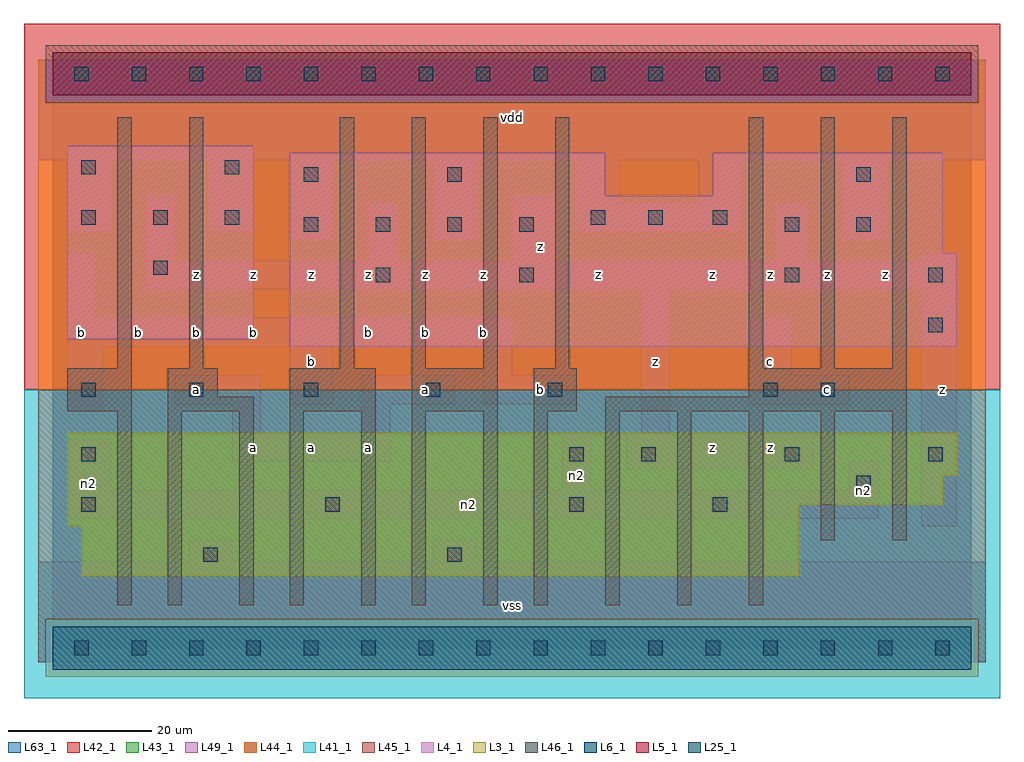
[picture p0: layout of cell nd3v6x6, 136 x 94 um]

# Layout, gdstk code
import gdstk
lib = gdstk.Library(unit=1e-6, precision=1e-09)
def R(c, l, rs):  # rectangles x0, y0, x1, y1
    for r in rs: c.add(gdstk.rectangle(r[:2], r[2:], *l))
def A(c, l, x, y, w, h, nx, ny, dx, dy):  # array of equal rectangles
    R(c, l, [(x+i*dx, y+j*dy, x+i*dx+w, y+j*dy+h) for i in range(nx) for j in range(ny)])
L3_1 = (3, 1)
L4_1 = (4, 1)
L5_1 = (5, 1)
L6_1 = (6, 1)
L25_1 = (25, 1)
L41_1 = (41, 1)
L42_1 = (42, 1)
L43_1 = (43, 1)
L44_1 = (44, 1)
L45_1 = (45, 1)
L46_1 = (46, 1)
L49_1 = (49, 1)
L63_1 = (63, 1)

nd3v6x6 = lib.new_cell('nd3v6x6')
R(nd3v6x6, L3_1, [(4,10,104,17), (2,17,104,20), (2,20,124,24), (2,24,126,30)])
R(nd3v6x6, L4_1, [(33,42,126,55), (2,43,28,70), (33,55,124,63), (33,63,77,69), (92,63,124,69)])
R(nd3v6x6, L5_1, [(0,77,128,83)])
R(nd3v6x6, L6_1, [(0,-3,128,3), (0,-3,128,3)])
A(nd3v6x6, L25_1, 3, -1, 2, 2, 16, 2, 8, 80)
A(nd3v6x6, L25_1, 4, 19, 2, 2, 3, 1, 34, 0)
A(nd3v6x6, L25_1, 82, 26, 2, 2, 3, 1, 20, 0)
A(nd3v6x6, L25_1, 35, 35, 2, 2, 3, 1, 17, 0)
A(nd3v6x6, L25_1, 35, 58, 2, 2, 4, 1, 10, 0)
A(nd3v6x6, L25_1, 4, 59, 2, 2, 3, 1, 10, 0)
R(nd3v6x6, L25_1, [(21,12,23,14), (55,12,57,14), (92,19,94,21), (112,22,114,24), (4,26,6,28), (72,26,74,28), (4,35,6,37), (19,35,21,37), (99,35,101,37), (107,35,109,37), (122,44,124,46), (45,51,47,53), (65,51,67,53), (102,51,104,53), (122,51,124,53), (14,52,16,54), (102,58,104,60), (112,58,114,60), (75,59,77,61), (83,59,85,61), (92,59,94,61), (35,65,37,67), (55,65,57,67), (112,65,114,67), (4,66,6,68), (24,66,26,68)])
R(nd3v6x6, L41_1, [(-4,-7,132,36)])
R(nd3v6x6, L42_1, [(-4,36,132,87)])
R(nd3v6x6, L43_1, [(0,-3,128,3), (4,10,104,17), (2,17,104,20), (2,20,124,24), (2,24,126,30), (33,42,126,55), (2,43,28,70), (33,55,124,63), (33,63,77,69), (92,63,124,69), (0,77,128,83)])
R(nd3v6x6, L44_1, [(-1,-4,129,4), (-2,36,130,76), (-2,76,-1,82), (129,76,130,82)])
R(nd3v6x6, L45_1, [(-2,-2,-1,4), (129,-2,130,4), (-2,4,130,36), (-1,76,129,84)])
A(nd3v6x6, L46_1, 67, 6, 2, 27, 4, 1, 10, 0)
A(nd3v6x6, L46_1, 40, 39, 2, 35, 4, 1, 10, 0)
A(nd3v6x6, L46_1, 97, 39, 2, 35, 3, 1, 10, 0)
R(nd3v6x6, L46_1, [(9,6,11,33), (16,6,18,33), (26,6,28,33), (33,6,35,33), (43,6,45,33), (50,6,52,33), (60,6,62,33), (107,15,109,33), (117,15,119,33), (2,33,11,39), (16,33,28,35), (33,33,45,39), (50,33,62,39), (67,33,73,39), (77,33,119,35), (16,35,23,39), (97,35,119,39), (9,39,11,74), (19,39,21,74)])
R(nd3v6x6, L49_1, [(-2,-2,130,12), (19,12,25,15), (53,12,59,15), (121,17,126,50), (2,18,115,22), (2,22,8,29), (71,22,75,30), (111,22,115,26), (80,25,106,30), (25,26,47,30), (25,30,29,34), (43,30,47,34), (82,30,86,50), (2,33,7,42), (17,34,29,38), (33,34,39,42), (43,34,56,38), (60,34,73,38), (97,34,111,38), (60,38,64,42), (97,38,103,46), (2,42,64,46), (2,46,6,55), (13,50,126,54), (13,54,17,63), (44,54,48,62), (64,54,70,63), (101,54,105,62), (121,54,126,55), (33,57,39,68), (53,57,59,68), (110,57,116,68), (2,58,8,68), (22,58,28,68), (73,58,96,62), (73,62,79,68), (90,62,96,68), (-2,68,130,82)])
R(nd3v6x6, L63_1, [(0,0,128,80)])
nd3v6x6.add(gdstk.Label('n2', (5,23), layer=49, texttype=1))
nd3v6x6.add(gdstk.Label('b', (12,44), layer=49, texttype=1))
nd3v6x6.add(gdstk.Label('b', (4,44), layer=49, texttype=1))
nd3v6x6.add(gdstk.Label('a', (28,28), layer=49, texttype=1))
nd3v6x6.add(gdstk.Label('a', (36,28), layer=49, texttype=1))
nd3v6x6.add(gdstk.Label('a', (20,36), layer=49, texttype=1))
nd3v6x6.add(gdstk.Label('b', (28,44), layer=49, texttype=1))
nd3v6x6.add(gdstk.Label('b', (36,40), layer=49, texttype=1))
nd3v6x6.add(gdstk.Label('b', (20,44), layer=49, texttype=1))
nd3v6x6.add(gdstk.Label('z', (20,52), layer=49, texttype=1))
nd3v6x6.add(gdstk.Label('z', (28,52), layer=49, texttype=1))
nd3v6x6.add(gdstk.Label('z', (36,52), layer=49, texttype=1))
nd3v6x6.add(gdstk.Label('a', (44,28), layer=49, texttype=1))
nd3v6x6.add(gdstk.Label('a', (52,36), layer=49, texttype=1))
nd3v6x6.add(gdstk.Label('b', (52,44), layer=49, texttype=1))
nd3v6x6.add(gdstk.Label('b', (60,44), layer=49, texttype=1))
nd3v6x6.add(gdstk.Label('b', (44,44), layer=49, texttype=1))
nd3v6x6.add(gdstk.Label('z', (44,52), layer=49, texttype=1))
nd3v6x6.add(gdstk.Label('z', (52,52), layer=49, texttype=1))
nd3v6x6.add(gdstk.Label('z', (60,52), layer=49, texttype=1))
nd3v6x6.add(gdstk.Label('vss', (64,6), layer=49, texttype=1))
nd3v6x6.add(gdstk.Label('n2', (73,24), layer=49, texttype=1))
nd3v6x6.add(gdstk.Label('b', (68,36), layer=49, texttype=1))
nd3v6x6.add(gdstk.Label('z', (84,40), layer=49, texttype=1))
nd3v6x6.add(gdstk.Label('z', (76,52), layer=49, texttype=1))
nd3v6x6.add(gdstk.Label('z', (68,56), layer=49, texttype=1))
nd3v6x6.add(gdstk.Label('vdd', (64,74), layer=49, texttype=1))
nd3v6x6.add(gdstk.Label('z', (92,28), layer=49, texttype=1))
nd3v6x6.add(gdstk.Label('z', (100,28), layer=49, texttype=1))
nd3v6x6.add(gdstk.Label('c', (100,40), layer=49, texttype=1))
nd3v6x6.add(gdstk.Label('z', (92,52), layer=49, texttype=1))
nd3v6x6.add(gdstk.Label('z', (100,52), layer=49, texttype=1))
nd3v6x6.add(gdstk.Label('n2', (58,20), layer=49, texttype=1))
nd3v6x6.add(gdstk.Label('n2', (113,22), layer=49, texttype=1))
nd3v6x6.add(gdstk.Label('c', (108,36), layer=49, texttype=1))
nd3v6x6.add(gdstk.Label('z', (124,36), layer=49, texttype=1))
nd3v6x6.add(gdstk.Label('z', (108,52), layer=49, texttype=1))
nd3v6x6.add(gdstk.Label('z', (116,52), layer=49, texttype=1))

lib.write_gds('nd3v6x6.gds')
